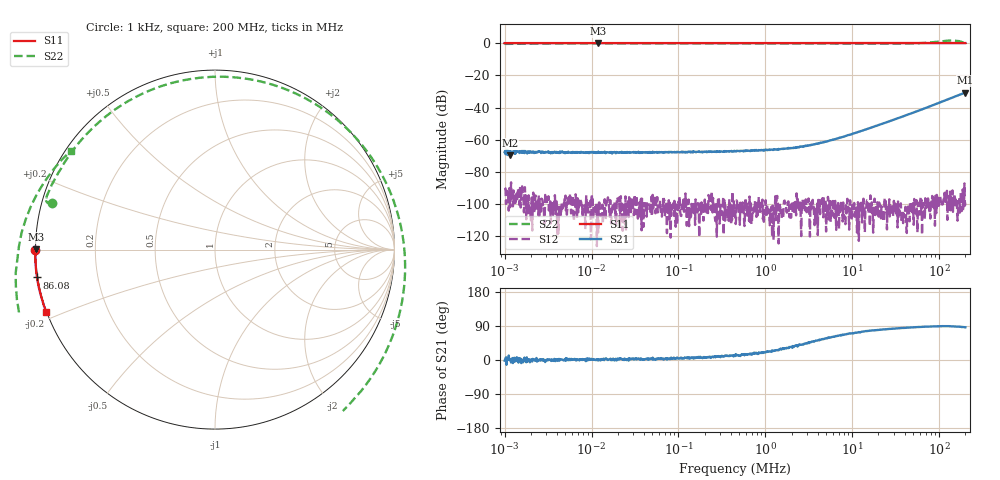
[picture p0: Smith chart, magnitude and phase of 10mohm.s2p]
! ListType=Log
# MHZ S RI R 50
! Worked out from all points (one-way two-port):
!   1000 points, 1 kHz to 200 MHz, reference 50 ohm
!   highest |S21| = -30.68 dB at 200 MHz (marker M1); lowest = -69.6 dB at 1.158 kHz (marker M2)
!   lowest |S11| = 0.0 dB at 11.95 kHz (marker M3), VSWR 713.27, Z = 0.0701 + j0.0238 ohm
!   |S11| at or under -10 dB: nowhere
!   |S22| runs from -0.5 to 1.7 dB; largest |S21 - S12| = 0.029
!   S11 on the Smith chart (normalised r, x): 1 kHz: -0.00, -0.00; 86.08 MHz: -0.00, -0.08; 200 MHz: -0.00, -0.18
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0.001  -1 -0.000139  0.000411 -1.18e-05  -1.15e-05 -2.99e-05  -0.9089 0.26
0.0011579  -1.001 0.000188  0.000333 9e-07  -8e-06 1.1e-06  -0.9121 0.2579
0.0076941  -1 3.37e-05  0.000406 7.4e-06  -2.1e-06 8.4e-06  -0.9422 0.2759
0.011945  -0.9972 0.000948  0.000432 3.5e-06  -1.2e-06 6e-07  -0.9435 0.2782
0.0584804  -1 -0.000145  0.000405 3.5e-05  1.1e-06 -7.5e-06  -0.9406 0.2882
0.4499541  -1 -0.000954  0.000438 8.58e-05  1.8e-06 7.1e-06  -0.9349 0.303
1.401708  -1.001 -0.00288  0.000448 0.000226  4.1e-06 4.5e-06  -0.9207 0.3352
3.419952  -1.001 -0.00673  0.000467 0.000524  -1.8e-06 -7.2e-06  -0.8867 0.4028
12.03851  -1.001 -0.0228  0.000514 0.00172  -7.5e-06 -3e-07  -0.7122 0.6466
26.31347  -1.001 -0.0487  0.000532 0.00368  3.6e-06 -3.5e-06  -0.3118 0.9064
38.90281  -1 -0.0715  0.000505 0.00538  3.2e-06 4.1e-06  0.104 0.96
52.15945  -0.9984 -0.0953  0.000452 0.0072  7e-07 -1.11e-05  0.5302 0.8281
67.41648  -0.9959 -0.1225  0.000371 0.00936  2.4e-06 -9.8e-06  0.9034 0.4633
86.07812  -0.9915 -0.1553  0.000244 0.0121  2.9e-06 -1.01e-05  1.057 -0.1695
96.08372  -0.9886 -0.173  0.000209 0.0135  -3.9e-06 -1.78e-05  0.9735 -0.5216
107.2524  -0.9853 -0.1924  0.000131 0.0152  -1.6e-06 -8.5e-06  0.7458 -0.8653
121.191  -0.9799 -0.2164  0.000204 0.0174  -9.6e-06 -1.37e-05  0.3112 -1.139
135.278  -0.9743 -0.2406  0.000283 0.0196  -3.1e-06 -5.7e-06  -0.2103 -1.185
149.1688  -0.968 -0.2638  0.000456 0.0217  1.5e-06 -9.1e-06  -0.6843 -0.9897
166.5079  -0.9591 -0.2928  0.000814 0.0244  -7e-06 -1.02e-05  -1.054 -0.491
179.1732  -0.9525 -0.3162  0.00123 0.0264  -1.87e-05 -8.8e-06  -1.102 -0.0581
200  -0.9396 -0.3481  0.00184 0.0292  -1.29e-05 -6.6e-06  -0.8026 0.5506
